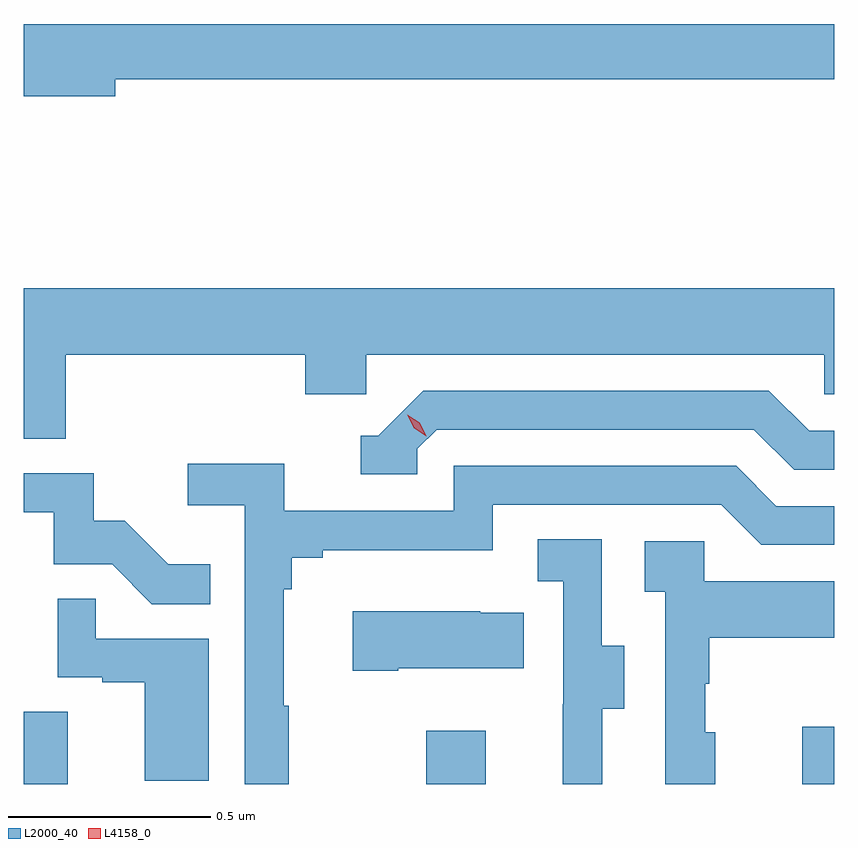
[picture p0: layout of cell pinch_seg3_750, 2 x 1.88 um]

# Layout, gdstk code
import gdstk
lib = gdstk.Library(unit=1e-6, precision=1e-09)
def R(c, l, rs):  # rectangles x0, y0, x1, y1
    for r in rs: c.add(gdstk.rectangle(r[:2], r[2:], *l))
def P(c, l, *ps):  # polygons
    for p in ps: c.add(gdstk.Polygon(p, *l))
L2000_40 = (2000, 40)
L4158_0 = (4158, 0)

pinch_seg3_750 = lib.new_cell('pinch_seg3_750')
R(pinch_seg3_750, L2000_40, [(857.695,745.144,857.803,745.322), (858.688,745.144,858.835,745.276), (859.616,745.144,859.695,745.285)])
P(pinch_seg3_750, L2000_40, [(857.92,746.884),(859.695,746.884),(859.695,747.02),(857.695,747.02),(857.695,746.842),(857.92,746.842)],
  [(857.798,746.204),(858.389,746.204),(858.389,746.106),(858.54,746.106),(858.54,746.204),(859.671,746.204),(859.671,746.106),(859.695,746.106),(859.695,746.368),(857.695,746.368),(857.695,745.996),(857.798,745.996)],
  [(858.666,745.971),(858.714,746.019),(859.497,746.019),(859.596,745.92),(859.695,745.92),(859.695,746.016),(859.633,746.016),(859.534,746.115),(858.681,746.115),(858.57,746.004),(858.527,746.004),(858.527,745.908),(858.666,745.908)],
  [(858.349,745.337),(858.337,745.337),(858.337,745.625),(858.356,745.625),(858.356,745.702),(858.433,745.702),(858.433,745.721),(858.852,745.721),(858.852,745.833),(859.416,745.833),(859.515,745.734),(859.695,745.734),(859.695,745.83),(859.552,745.83),(859.453,745.929),(858.756,745.929),(858.756,745.818),(858.338,745.818),(858.338,745.934),(858.099,745.934),(858.099,745.832),(858.24,745.832),(858.24,745.144),(858.349,745.144)],
  [(858.155,745.687),(858.051,745.687),(857.944,745.794),(857.868,745.794),(857.868,745.911),(857.695,745.911),(857.695,745.815),(857.769,745.815),(857.769,745.686),(857.913,745.686),(858.011,745.588),(858.155,745.588)],
  [(859.123,745.33),(859.177,745.33),(859.177,745.485),(859.122,745.485),(859.122,745.748),(858.963,745.748),(858.963,745.645),(859.026,745.645),(859.026,745.341),(859.025,745.341),(859.025,745.144),(859.123,745.144)],
  [(859.402,745.272),(859.377,745.272),(859.377,745.391),(859.387,745.391),(859.387,745.505),(859.695,745.505),(859.695,745.645),(859.374,745.645),(859.374,745.743),(859.227,745.743),(859.227,745.619),(859.278,745.619),(859.278,745.144),(859.402,745.144)],
  [(858.151,745.503),(857.873,745.503),(857.873,745.601),(857.778,745.601),(857.778,745.407),(857.889,745.407),(857.889,745.395),(857.993,745.395),(857.993,745.152),(858.151,745.152)],
  [(858.619,745.43),(858.929,745.43),(858.929,745.567),(858.821,745.567),(858.821,745.57),(858.507,745.57),(858.507,745.423),(858.619,745.423)])
P(pinch_seg3_750, L4158_0, [(858.688,746.003),(858.657,746.023),(858.641,746.056),(858.641,746.056),(858.641,746.056),(858.672,746.036),(858.688,746.003),(858.688,746.003)])

lib.write_gds('pinch_seg3_750.gds')
